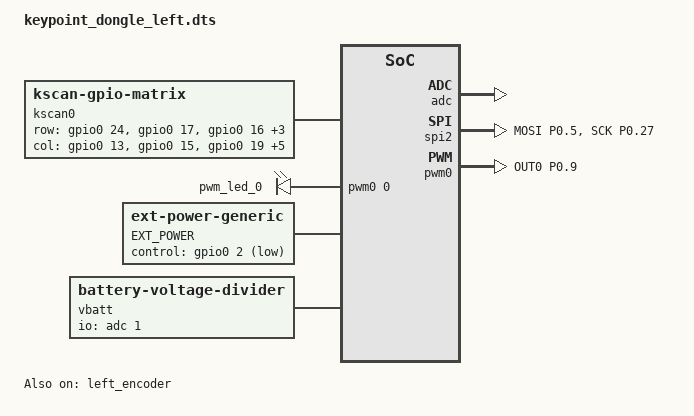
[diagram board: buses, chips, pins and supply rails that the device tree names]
/*
*
* Copyright (c) 2025 ZitaoTech
* SPDX-License-Identifier: MIT
*
*/

#include "keypoint_dongle.dtsi"


/ {
    chosen {
        zmk,backlight = &backlight;
        zmk,battery = &vbatt;
    };
    kscan0: kscan {
        compatible = "zmk,kscan-gpio-matrix";
        diode-direction = "col2row";
        wakeup-source;
        row-gpios
            = <&gpio0 24 (GPIO_ACTIVE_HIGH | GPIO_PULL_DOWN)>
            , <&gpio0 17  (GPIO_ACTIVE_HIGH | GPIO_PULL_DOWN)>
            , <&gpio0 16 (GPIO_ACTIVE_HIGH | GPIO_PULL_DOWN)>
            , <&gpio1 8  (GPIO_ACTIVE_HIGH | GPIO_PULL_DOWN)>
            , <&gpio0 31  (GPIO_ACTIVE_HIGH | GPIO_PULL_DOWN)>
            , <&gpio0 29  (GPIO_ACTIVE_HIGH | GPIO_PULL_DOWN)>
            ;
        col-gpios
            = <&gpio0 13  GPIO_ACTIVE_HIGH>
            , <&gpio0 15  GPIO_ACTIVE_HIGH>
            , <&gpio0 19  GPIO_ACTIVE_HIGH>
            , <&gpio0 22 GPIO_ACTIVE_HIGH>
            , <&gpio0 20 GPIO_ACTIVE_HIGH>
            , <&gpio1 0 GPIO_ACTIVE_HIGH>
            , <&gpio0 28 GPIO_ACTIVE_HIGH>
            , <&gpio0 30 GPIO_ACTIVE_HIGH>
            ;
    };



    backlight: pwmleds {
        compatible = "pwm-leds";
        pwm_led_0 {
            pwms = <&pwm0 0 PWM_MSEC(10) PWM_POLARITY_NORMAL>;
        };
    };
    EXT_POWER {
        compatible = "zmk,ext-power-generic";
        control-gpios = <&gpio0 2 GPIO_ACTIVE_LOW>;
    };
    vbatt: vbatt {
        compatible = "zmk,battery-voltage-divider";
        io-channels = <&adc 1>;
        output-ohms = <2000000>;
        full-ohms = <2820000>;  // 2000000 + 820000
    };
};

&default_transform {
    col-offset = <1>;
};


&adc {
    status = "okay";
};

&gpiote {
    status = "okay";
};

&gpio0 {
    status = "okay";
};

&gpio1 {
    status = "okay";
};

&spi2 {
    status = "okay";
};

&pwm0 {
    status = "okay";
    pinctrl-0 = <&pwm0_default>;
    pinctrl-1 = <&pwm0_sleep>;
    pinctrl-names = "default", "sleep";
};


&left_encoder {
    status = "okay";
};



lpm_view_spi: &spi2 {
    compatible = "nordic,nrf-spim";
    pinctrl-0 = <&spi2_default>;
    pinctrl-1 = <&spi2_sleep>;
    pinctrl-names = "default", "sleep";
    cs-gpios = <&gpio0 12 (GPIO_ACTIVE_HIGH | GPIO_PULL_DOWN) >;
};

&pinctrl {
    pwm0_default:pwm0_default{
        group1{
            psels = <NRF_PSEL(PWM_OUT0, 0, 9)>; //  backlight, unreal
        };
    };

    pwm0_sleep: pwm0_sleep {
        group1 {
            psels = <NRF_PSEL(PWM_OUT0, 0, 9)>;
            bias-pull-down;
        };
    };
    spi2_default: spi2_default {
        group1 {
            psels = <NRF_PSEL(SPIM_MOSI, 0, 5)>,
            <NRF_PSEL(SPIM_SCK, 0, 27)>;
        };
    };
    spi2_sleep: spi2_sleep {
        group1 {
            psels = <NRF_PSEL(SPIM_MOSI, 0, 5)>,
            <NRF_PSEL(SPIM_SCK, 0, 27)>;
            low-power-enable;
        };
    };
};

